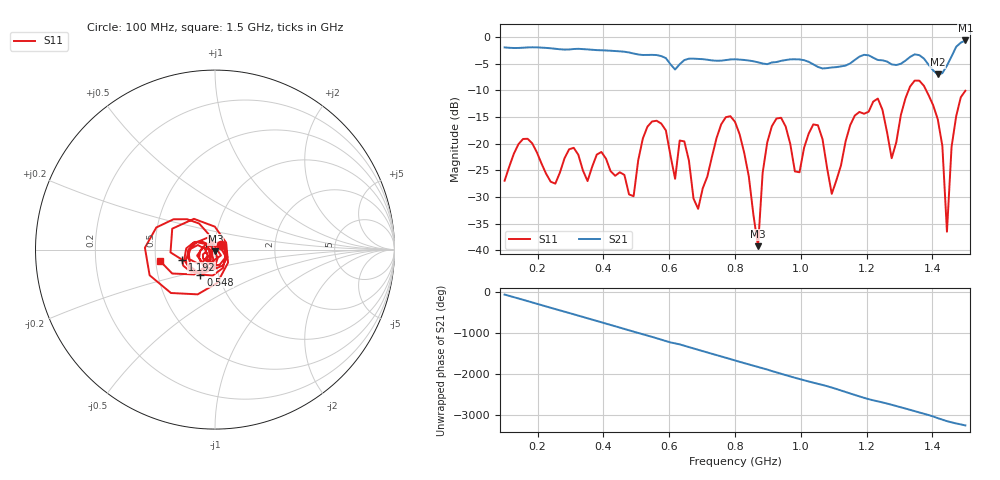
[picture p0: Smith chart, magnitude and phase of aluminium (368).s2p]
! NanoVNA-App
! Date: 2025-09-25 14:58:08
! Start: 100MHz Stop: 1,5GHz Points: 101
! S-Parameter data: F S11 S21 S12 S22
# Hz S RI R 50
!  Frequency  S11_Real  S11_Imag  S21_Real  S21_Imag  S12_Real  S12_Imag  S22_Real  S22_Imag
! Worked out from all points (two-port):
!   101 points, 100 MHz to 1.5 GHz, reference 50 ohm
!   highest |S21| = -0.61 dB at 1.5 GHz (marker M1); lowest = -7.0 dB at 1.416 GHz (marker M2)
!   |S21| within 3 dB of the highest: start of sweep to 578.4 MHz; 1.458 GHz to end of sweep (the widest 2 of 4)
!   lowest |S11| = -39.3 dB at 870 MHz (marker M3), VSWR 1.02, Z = 50.3 - j1.06 ohm
!   |S11| at or under -10 dB: start of sweep to 1.327 GHz; 1.381 GHz to end of sweep
!   S12 and S22 are empty: the file has one direction only
!   S11 on the Smith chart (normalised r, x): 100 MHz: 1.07, +0.06; 548 MHz: 0.82, -0.23; 1.192 GHz: 0.69, -0.08; 1.5 GHz: 0.53, -0.07
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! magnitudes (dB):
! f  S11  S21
! 100 MHz  -27.0  -1.9
! 156 MHz  -19.1  -2.0
! 338 MHz  -25.0  -2.2
! 492 MHz  -29.9  -3.1
! 548 MHz  -15.8  -3.3
! 576 MHz  -16.2  -3.5
! 646 MHz  -19.6  -4.3
! 688 MHz  -32.2  -4.1
! 800 MHz  -15.9  -4.1
! 870 MHz  -39.3  -4.7
! 912 MHz  -16.7  -4.7
! 996 MHz  -25.4  -4.2
! 1.038 GHz  -16.4  -5.1
! 1.094 GHz  -29.4  -5.7
! 1.192 GHz  -14.4  -3.3
! 1.234 GHz  -11.5  -4.3
! 1.276 GHz  -22.7  -5.1
! 1.346 GHz  -8.1  -3.2
! 1.416 GHz  -15.4  -7.0
! 1.444 GHz  -36.5  -5.3
! 1.458 GHz  -20.6  -3.6
! 1.5 GHz  -10.1  -0.6
